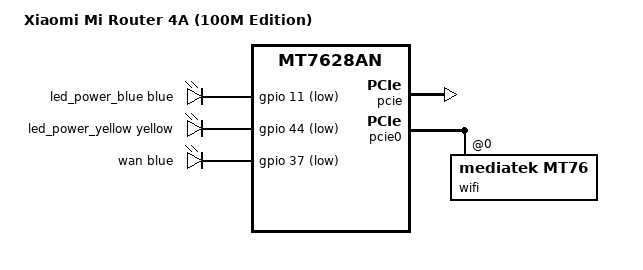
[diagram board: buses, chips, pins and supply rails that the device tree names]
// SPDX-License-Identifier: GPL-2.0-or-later OR MIT

#include <dt-bindings/leds/common.h>

#include "mt7628an_xiaomi_mi-router-4.dtsi"

/ {
	compatible = "xiaomi,mi-router-4a-100m", "mediatek,mt7628an-soc";
	model = "Xiaomi Mi Router 4A (100M Edition)";

	aliases {
		led-boot = &led_power_yellow;
		led-failsafe = &led_power_yellow;
		led-running = &led_power_blue;
		led-upgrade = &led_power_yellow;
		label-mac-device = &ethernet;
	};

	leds {
		compatible = "gpio-leds";

		led_power_blue: power_blue {
			function = LED_FUNCTION_POWER;
			color = <LED_COLOR_ID_BLUE>;
			gpios = <&gpio 11 GPIO_ACTIVE_LOW>;
		};

		led_power_yellow: power_yellow {
			function = LED_FUNCTION_POWER;
			color = <LED_COLOR_ID_YELLOW>;
			gpios = <&gpio 44 GPIO_ACTIVE_LOW>;
		};

		wan {
			function = LED_FUNCTION_WAN;
			color = <LED_COLOR_ID_BLUE>;
			gpios = <&gpio 37 GPIO_ACTIVE_LOW>;
		};
	};

};

&partitions {
	/* 1. 彻底删除 .dtsi 继承下来的全部 5 个旧原厂分区，清除旧标签冲突 */
	/delete-node/ partition@0;
	/delete-node/ partition@20000;
	/delete-node/ partition@30000;
	/delete-node/ partition@40000;
	/delete-node/ partition@50000;

	/* 2. 重建为你固件所需的 Breed 16MB 纯净闪存布局 */
	partition@0 {
		label = "u-boot";
		reg = <0x0 0x30000>;
		read-only;
	};

	partition@30000 {
		label = "u-boot-env";
		reg = <0x30000 0x10000>;
	};

	partition@40000 {
		label = "factory";
		reg = <0x40000 0x10000>;
		read-only;

		nvmem-layout {
			compatible = "fixed-layout";
			#address-cells = <1>;
			#size-cells = <1>;

			/* 2.4G Wi-Fi 必需校准数据 (供 .dtsi 的 &wmac 节点使用) */
			eeprom_factory_0: eeprom@0 {
				reg = <0x0 0x400>;
			};

			/* 路由器 MAC 地址 (供 &ethernet 节点使用) */
			macaddr_factory_4: macaddr@4 {
				compatible = "mac-base";
				reg = <0x4 0x6>;
				#nvmem-cell-cells = <1>;
			};

			/* 5G Wi-Fi 必需校准数据 (供 &pcie0 wifi 节点使用) */
			eeprom_factory_8000: eeprom@8000 {
				reg = <0x8000 0x200>;
			};
		};
	};

	partition@50000 {
		compatible = "denx,uimage";
		label = "firmware";
		reg = <0x50000 0xfb0000>;
	};
};

&pcie {
	status = "okay";
};

&pcie0 {
	wifi@0,0 {
		compatible = "mediatek,mt76";
		reg = <0x0000 0 0 0 0>;
		nvmem-cells = <&eeprom_factory_8000>;
		nvmem-cell-names = "eeprom";
		ieee80211-freq-limit = <5000000 6000000>;
	};
};

&ethernet {
	nvmem-cells = <&macaddr_factory_4 (-1)>;
	nvmem-cell-names = "mac-address";
};

&esw {
	mediatek,portmap = <0x3e>;
	mediatek,portdisable = <0x2a>;
};
